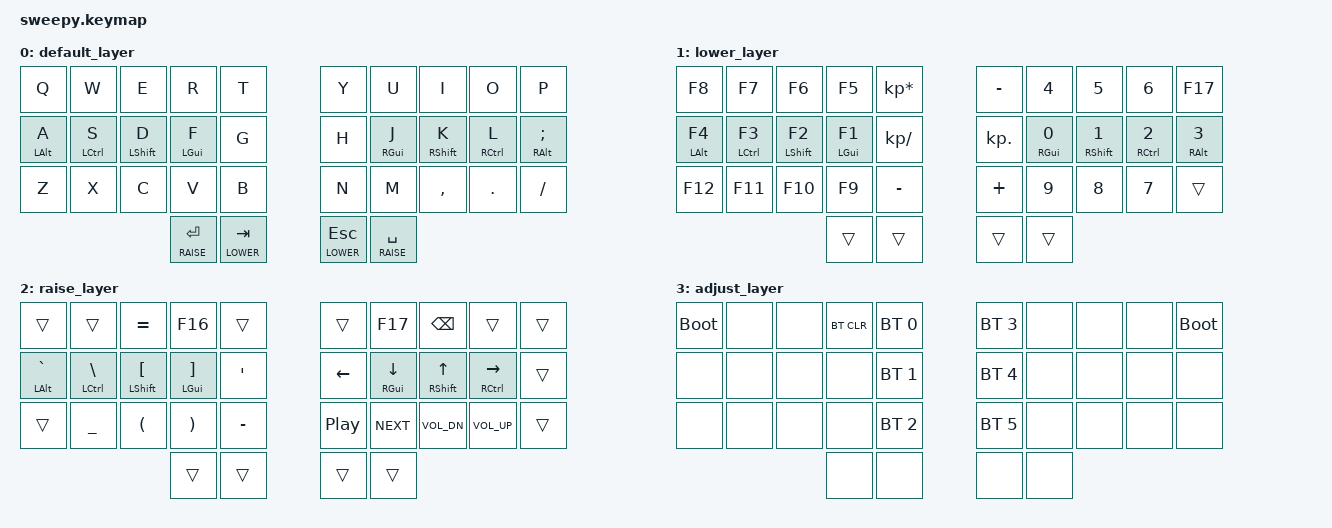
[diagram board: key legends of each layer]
#include <behaviors.dtsi>
#include <dt-bindings/zmk/bt.h>
#include <dt-bindings/zmk/keys.h>
#define BASE 0
#define LOWER 1
#define RAISE 2
#define ADJUST 3


/ {
	behaviors {
		hm: homerow_mods {
			compatible = "zmk,behavior-hold-tap";
			label = "HOMEROW_MODS";
			#binding-cells = <2>;
			tapping-term-ms = <200>;
			quick-tap-ms = <500>;
			flavor = "tap-preferred";
			bindings = <&kp>, <&kp>;
		};
	};

	conditional_layers {
		compatible = "zmk,conditional-layers";
		func_layer {
			if-layers = <LOWER RAISE>;
			then-layer = <ADJUST>;
		};
	};

	combos {
		compatible = "zmk,combos";
			combo_minus {
				timeout-ms = <100>;
				key-positions = <13 16>;
				bindings = <&kp MINUS>;
			};
			combo_quote {
				timeout-ms = <100>;
				key-positions = <12 17>;
				bindings = <&kp SQT>;
			};
			combo_plus {
				timeout-ms = <50>;
				key-positions = <2 3>;
				bindings = <&kp PLUS>;
			};
			combo_tmux {
				timeout-ms = <60>;
				key-positions = <16 33>;
				bindings = <&kp LC(B)>;
			};
			combo_bkspace {
				timeout-ms = <100>;
				key-positions = <6 7>;
				bindings = <&kp BSPC>;
			};
			combo_inc {
				timeout-ms = <50>;
				key-positions = <3 6>;
				bindings = <&kp LG(PLUS) >;
			};
			combo_dec {
				timeout-ms = <50>;
				key-positions = <4 5>;
				bindings = <&kp LG(MINUS) >;
			};
	};

	keymap {
		compatible = "zmk,keymap";

		default_layer {
			bindings = <
				&kp Q      &kp W      &kp E        &kp R      &kp T     &kp Y &kp U      &kp I        &kp O       &kp P
				&hm LALT A &hm LCTL S &hm LSHIFT D &hm LGUI F &kp G     &kp H &hm RGUI J &hm RSHIFT K &hm RCTRL L &hm RALT SEMICOLON
				&kp Z      &kp X      &kp C        &kp V      &kp B     &kp N &kp M      &kp COMMA    &kp DOT     &kp SLASH
				                      &lt RAISE RET   &lt LOWER TAB     &lt LOWER ESC &lt RAISE SPACE
			>;
		};

		lower_layer {
			bindings = <
				&kp F8      &kp F7      &kp F6        &kp F5      &kp KP_MULTIPLY     &kp MINUS  &kp N4      &kp N5        &kp N6       &kp F17
				&hm LALT F4 &hm LCTL F3 &hm LSHIFT F2 &hm LGUI F1 &kp KP_DIVIDE       &kp KP_DOT &hm RGUI N0 &hm RSHIFT N1 &hm RCTRL N2 &hm RALT N3
				&kp F12     &kp F11     &kp F10       &kp F9      &kp MINUS           &kp PLUS   &kp N9      &kp N8        &kp N7       &trans
				                                      &trans      &trans              &trans     &trans
			>;
		};

		raise_layer {
			bindings = <
				&trans         &trans        &kp EQUAL       &kp F16       &trans     &trans   &kp F17       &kp BSPC      &trans          &trans
				&hm LALT GRAVE &hm LCTL BSLH &hm LSHIFT LBKT &hm LGUI RBKT &kp SQT    &kp LEFT &hm RGUI DOWN &hm RSHIFT UP &hm RCTRL RIGHT &trans
				&trans         &kp UNDER     &kp LPAR        &kp RPAR      &kp MINUS  &kp C_PP &kp C_NEXT    &kp C_VOL_DN  &kp C_VOL_UP    &trans
				                                             &trans        &trans     &trans   &trans
			>;
		};

		adjust_layer {
			bindings = <
				&bootloader &none &none &bt BT_CLR &bt BT_SEL 0                  &bt BT_SEL 3 &none &none &none &bootloader
				&none       &none &none &none          &bt BT_SEL 1              &bt BT_SEL 4 &none &none &none &none
				&none       &none &none &none          &bt BT_SEL 2              &bt BT_SEL 5 &none &none &none &none
									&none &none              &none &none
			>;
		};

	};
};
